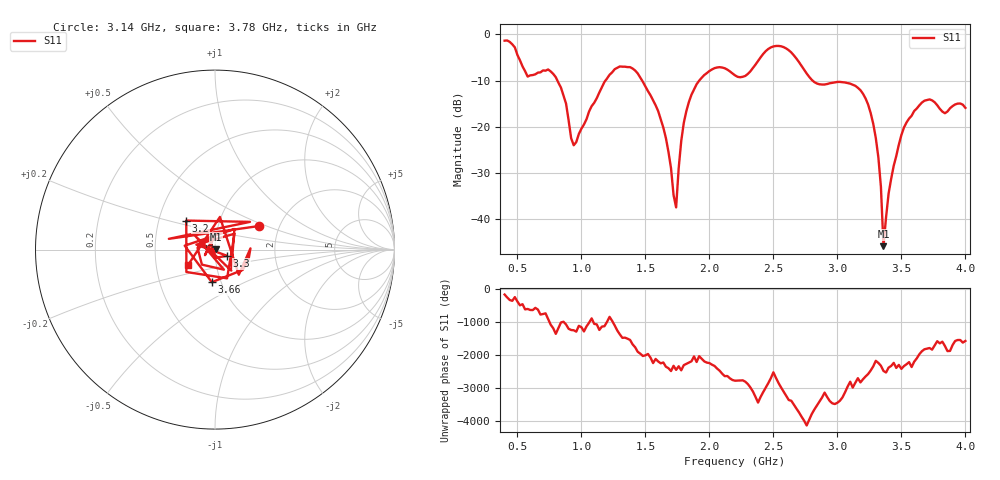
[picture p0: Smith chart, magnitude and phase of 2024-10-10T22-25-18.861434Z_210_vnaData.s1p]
! Created with skrf (http://scikit-rf.org).
# Hz S RI R 50.0
!freq ReS11 ImS11
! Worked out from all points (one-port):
!   181 points, 400 MHz to 4 GHz, reference 50 ohm
!   lowest |S11| = -45.9 dB at 3.36 GHz (marker M1), VSWR 1.01, Z = 50.5 + j0.231 ohm
!   |S11| at or under -10 dB: 812.4 MHz to 1.188 GHz (375.6 MHz wide, 37.6 % of centre); 1.474 GHz to 1.921 GHz (446.2 MHz wide, 26.3 % of centre); 2.806 GHz to end of sweep
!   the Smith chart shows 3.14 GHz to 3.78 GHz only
!   S11 on the Smith chart (normalised r, x): 3.14 GHz: 1.57, +0.45; 3.2 GHz: 0.69, +0.24; 3.3 GHz: 1.14, -0.08; 3.66 GHz: 0.90, -0.34; 3.78 GHz: 0.73, -0.13
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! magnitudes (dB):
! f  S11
! 400 MHz  -1.3
! 580 MHz  -9.1
! 740 MHz  -7.6
! 860 MHz  -13.3
! 940 MHz  -24.0
! 1.3 GHz  -6.9
! 1.44 GHz  -8.4
! 1.6 GHz  -16.6
! 1.66 GHz  -22.5
! 1.74 GHz  -37.5
! 1.76 GHz  -29.0
! 1.8 GHz  -19.2
! 1.9 GHz  -10.8
! 2.2 GHz  -8.9
! 2.5 GHz  -2.6
! 2.66 GHz  -4.5
! 2.84 GHz  -10.6
! 3.1 GHz  -10.7
! 3.14 GHz  -11.1
! 3.2 GHz  -12.9
! 3.3 GHz  -22.5
! 3.34 GHz  -33.0
! 3.36 GHz  -45.9
! 3.44 GHz  -28.5
! 3.56 GHz  -18.2
! 3.66 GHz  -14.8
! 3.78 GHz  -15.3
! 4 GHz  -15.9
